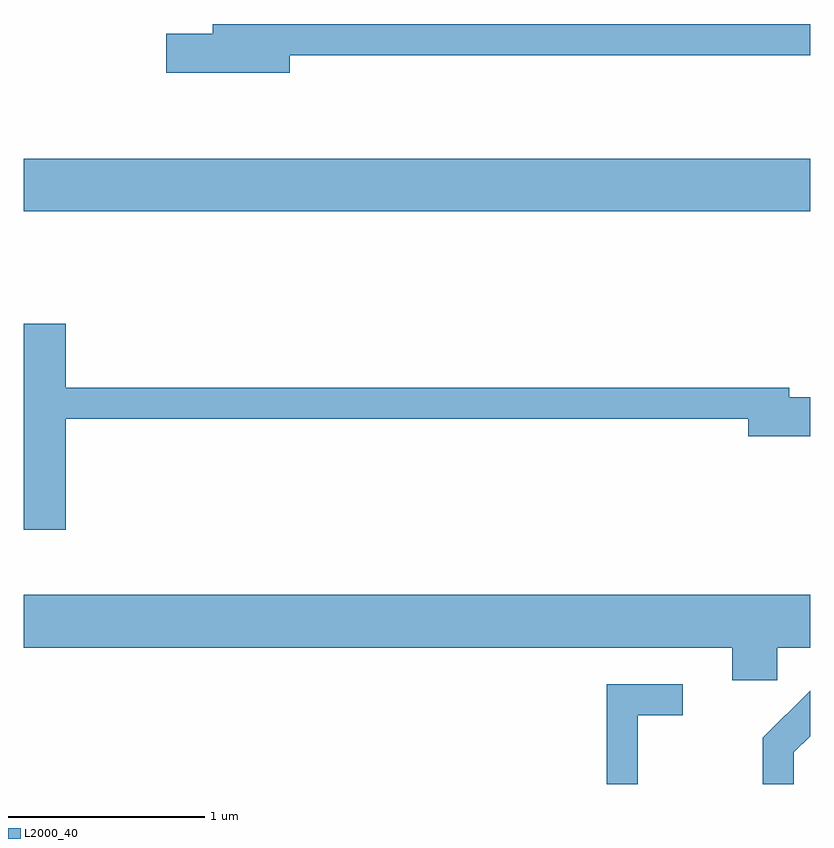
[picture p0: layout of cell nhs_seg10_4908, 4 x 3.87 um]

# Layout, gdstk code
import gdstk
lib = gdstk.Library(unit=1e-6, precision=1e-09)
def R(c, l, rs):  # rectangles x0, y0, x1, y1
    for r in rs: c.add(gdstk.rectangle(r[:2], r[2:], *l))
def P(c, l, *ps):  # polygons
    for p in ps: c.add(gdstk.Polygon(p, *l))
L2000_40 = (2000, 40)

nhs_seg10_4908 = lib.new_cell('nhs_seg10_4908')
R(nhs_seg10_4908, L2000_40, [(329.611,2149.436,333.611,2149.704)])
P(nhs_seg10_4908, L2000_40, [(330.964,2150.231),(333.611,2150.231),(333.611,2150.389),(330.571,2150.389),(330.571,2150.339),(330.336,2150.339),(330.336,2150.141),(330.964,2150.141)],
  [(329.824,2148.381),(333.296,2148.381),(333.296,2148.291),(333.611,2148.291),(333.611,2148.489),(333.504,2148.489),(333.504,2148.539),(329.824,2148.539),(329.824,2148.864),(329.611,2148.864),(329.611,2147.816),(329.824,2147.816)],
  [(333.444,2147.216),(333.611,2147.216),(333.611,2147.484),(329.611,2147.484),(329.611,2147.216),(333.216,2147.216),(333.216,2147.051),(333.444,2147.051)],
  [(332.734,2146.871),(332.963,2146.871),(332.963,2147.029),(332.576,2147.029),(332.576,2146.522),(332.734,2146.522)],
  [(333.529,2146.684),(333.611,2146.766),(333.611,2146.996),(333.371,2146.757),(333.371,2146.522),(333.529,2146.522)])

lib.write_gds('nhs_seg10_4908.gds')
